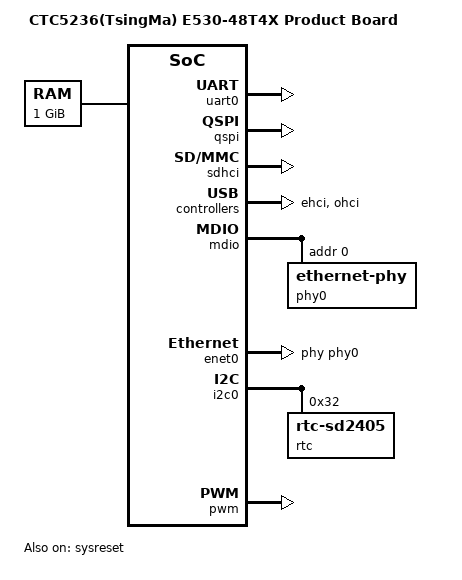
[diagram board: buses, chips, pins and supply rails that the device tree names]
/*
 * dts file for Centec CTC5236(TsingMa) SoC Emulation Board
 *
 * (C) Copyright 2004-2017 Centec Networks (suzhou) Co., LTD.
 *
 * Jay Cao <caoj@centecnetworks.com>
 *
 * This program is free software; you can redistribute it and/or
 * modify it under the terms of the GNU General Public License as
 * published by the Free Software Foundation; either version 2 of
 * the License, or (at your option) any later version.
 */

/dts-v1/;
#include "ctc5236.dtsi"

/ {
	model = " CTC5236(TsingMa) E530-48T4X Product Board";
	compatible = "ctc5236,e530-48t4x-p";

	memory {
		device_type = "memory";
		reg = <0 0x80000000 0 0x40000000>;
	};

	chosen {
		stdout-path = "serial0:115200n8";
	};

	aliases {
		serial0 = &uart0;
		spi1 = &qspi;
		mmc0 = &sdhci;
		usb0 = &ehci;
		usb1 = &ohci;
		ethernet0 = &enet0;
		i2c0 = &i2c0;
		pcie0 = &pcie;
	};
};

&uart0 {
	status = "okay";
};
&qspi {
	status = "okay";
};

&sdhci {
        status = "okay";
};

&ehci {
	status = "okay";
};

&ohci {
	status = "okay";
};

&mdio {
	status = "okay";
	phy0: ethernet-phy@0 {
		index = <0x00>;
		reg = <0x00>;
	};
};

&enet0 {
	status = "okay";
	phy-handle = <&phy0>;
	auto-nego-mode = "sgmii-mac";
};

&i2c0 {
        status = "okay";
		rtc:rtc@32{
			compatible = "rtc-sd2405";
			reg = <0x32>;
		};
};

&gpio0 {
        status = "okay";
};

&pwm {
        status = "okay";
};

&sysreset {
               status = "okay";
};
